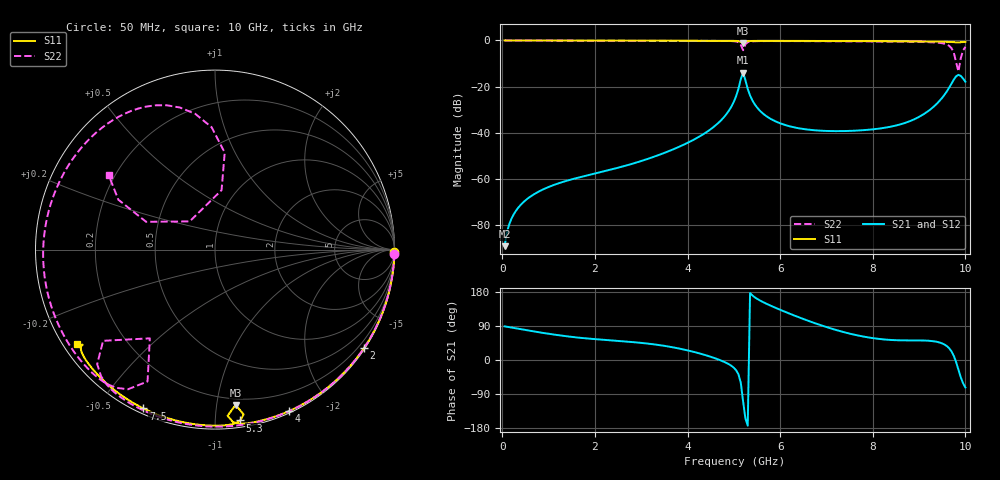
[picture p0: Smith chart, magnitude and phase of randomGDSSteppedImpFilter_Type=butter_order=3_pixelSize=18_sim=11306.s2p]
! freq	dB(S11)	phase(S11)	dB(S12)	phase(S12)
!  dB(S21)	phase(S21)	dB(S22)	phase(S22)
!S-par simulation data
#  GHz  S  DB  R 50
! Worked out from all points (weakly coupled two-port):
!   200 points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, 50 MHz to 10 GHz, reference 50 ohm
!   highest |S21| = -14.04 dB at 5.2 GHz (marker M1); lowest = -89.3 dB at 50 MHz (marker M2)
!   lowest |S11| = -1.2 dB at 5.2 GHz (marker M3), VSWR 14.71, Z = 7.78 - j56.5 ohm
!   |S11| at or under -10 dB: nowhere
!   |S22| runs from -13.5 to 0.0 dB; largest |S21 - S12| = 0
!   S11 on the Smith chart (normalised r, x): 50 MHz: open; 2 GHz: 0.03, -3.32; 4 GHz: 0.02, -1.56; 5.3 GHz: 0.04, -1.16; 7.5 GHz: 0.02, -0.65; 10 GHz: 0.04, -0.31
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0.05  -0.00 -0.9  -89.34 88.8  -89.34 88.8  -0.00 -1.4
0.7  -0.02 -11.9  -66.59 74.9  -66.59 74.9  -0.02 -18.8
1.75  -0.04 -29.5  -59.03 57.7  -59.03 57.7  -0.06 -46.5
2  -0.04 -33.6  -57.79 55.1  -57.79 55.1  -0.07 -52.9
3.4  -0.07 -56.0  -49.59 39.2  -49.59 39.2  -0.11 -87.6
4  -0.09 -65.3  -44.47 25.4  -44.47 25.4  -0.14 -102.0
4.7  -0.12 -76.1  -35.15 -0.3  -35.15 -0.3  -0.19 -119.3
5.05  -0.21 -82.6  -24.15 -27.1  -24.15 -27.1  -0.45 -132.0
5.15  -0.64 -85.7  -16.77 -59.9  -16.77 -59.9  -1.89 -140.8
5.2  -1.18 -82.4  -14.04 -109.5  -14.04 -109.5  -4.25 -126.3
5.3  -0.33 -81.6  -21.06 -173.3  -21.06 -173.3  -0.76 -121.9
5.45  -0.19 -85.1  -27.69 165.6  -27.69 165.6  -0.33 -130.0
5.75  -0.17 -90.0  -33.52 145.8  -33.52 145.8  -0.26 -139.0
6.7  -0.21 -103.5  -38.93 99.3  -38.93 99.3  -0.31 -162.0
7.5  -0.26 -114.3  -39.28 69.7  -39.28 69.7  -0.39 178.5
8.35  -0.33 -125.5  -37.60 53.2  -37.60 53.2  -0.49 156.0
9  -0.41 -134.2  -33.18 51.7  -33.18 51.7  -0.64 135.8
9.5  -0.51 -141.0  -24.85 43.7  -24.85 43.7  -1.22 112.3
9.75  -0.75 -144.3  -17.00 10.9  -17.00 10.9  -5.31 84.3
9.85  -0.84 -144.3  -14.93 -25.9  -14.93 -25.9  -13.51 131.9
9.9  -0.77 -144.3  -15.39 -45.7  -15.39 -45.7  -7.67 158.0
10  -0.61 -145.5  -17.91 -72.4  -17.91 -72.4  -2.80 144.9
